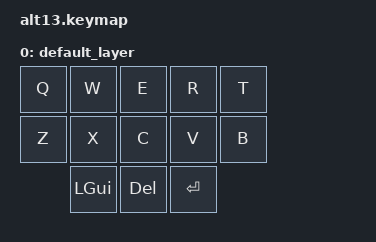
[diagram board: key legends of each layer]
#include <behaviors.dtsi>
#include <dt-bindings/zmk/keys.h>

/ {
    keymap {
        compatible = "zmk,keymap";

        default_layer {
            bindings = <
                &kp Q    &kp W    &kp E     &kp R     &kp T
                &kp Z    &kp X    &kp C     &kp V     &kp B 
                         &kp LGUI  &kp DEL   &kp RET    
            >;
        };
    };
};

